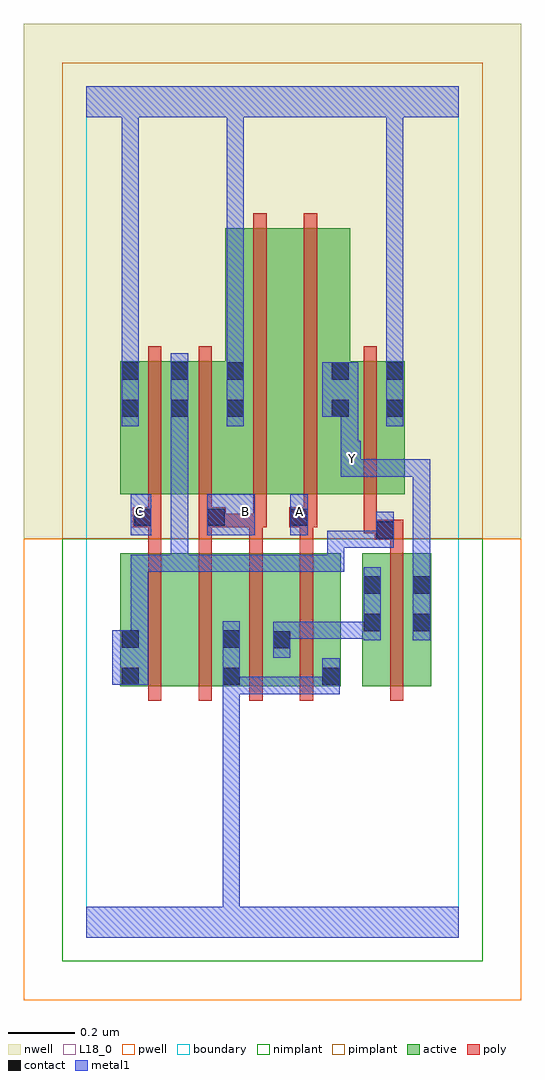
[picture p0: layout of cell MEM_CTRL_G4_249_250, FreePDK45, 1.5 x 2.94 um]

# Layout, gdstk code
import gdstk
lib = gdstk.Library(unit=1e-6, precision=1e-09)
def R(c, l, rs):  # rectangles x0, y0, x1, y1
    for r in rs: c.add(gdstk.rectangle(r[:2], r[2:], *l))
def A(c, l, x, y, w, h, nx, ny, dx, dy):  # array of equal rectangles
    R(c, l, [(x+i*dx, y+j*dy, x+i*dx+w, y+j*dy+h) for i in range(nx) for j in range(ny)])
active = (1, 0)
pwell = (2, 0)
nwell = (3, 0)
nimplant = (4, 0)
pimplant = (5, 0)
poly = (9, 0)
contact = (10, 0)
metal1 = (11, 0)
L18_0 = (18, 0)
boundary = (235, 0)

mem_ctrl_g4_249_250 = lib.new_cell('MEM_CTRL_G4_249_250')
R(mem_ctrl_g4_249_250, active, [(0.102,0.756,0.162,1.156), (0.102,0.756,0.282,1.156), (0.282,0.756,0.466,1.156), (0.406,0.756,0.618,1.156), (0.406,0.756,0.466,0.928), (0.558,0.756,0.766,1.156), (0.558,0.756,0.618,1.056), (0.706,0.756,0.766,1.156), (0.83,0.756,0.89,1.156), (0.83,0.756,1.038,1.156), (0.978,0.756,1.038,1.156), (0.102,1.334,0.162,1.734), (0.102,1.334,0.31,1.734), (0.25,1.334,0.478,1.734), (0.418,1.334,0.598,2.134), (0.598,1.334,0.794,2.134), (0.734,1.334,0.958,1.734), (0.898,1.334,0.958,1.734), (0.734,1.36,0.794,1.734), (0.25,1.388,0.31,1.734), (0.418,1.416,0.478,1.75)])
R(mem_ctrl_g4_249_250, pwell, [(-0.188,-0.188,1.308,1.2)])
R(mem_ctrl_g4_249_250, nwell, [(-0.188,1.2,1.308,2.748)])
R(mem_ctrl_g4_249_250, nimplant, [(-0.072,-0.072,1.192,1.2)])
R(mem_ctrl_g4_249_250, pimplant, [(-0.072,1.2,1.192,2.632)])
A(mem_ctrl_g4_249_250, poly, 0.186, 0.712, 0.04, 0.488, 4, 1, 0.152, 0)
A(mem_ctrl_g4_249_250, poly, 0.186, 1.16, 0.04, 0.114, 4, 1, 0.152, 0)
R(mem_ctrl_g4_249_250, poly, [(0.914,0.712,0.954,1.2), (0.914,1.16,0.954,1.236), (0.868,1.196,0.954,1.256), (0.834,1.216,0.874,1.33), (0.834,1.216,0.908,1.256), (0.868,1.216,0.908,1.256), (0.14,1.234,0.226,1.294), (0.186,1.234,0.226,1.274), (0.186,1.234,0.226,1.274), (0.338,1.234,0.378,1.274), (0.338,1.234,0.378,1.274), (0.338,1.234,0.53,1.274), (0.338,1.234,0.42,1.294), (0.49,1.234,0.53,1.274), (0.49,1.234,0.53,1.274), (0.49,1.234,0.542,1.274), (0.502,1.234,0.542,1.274), (0.502,1.234,0.542,1.274), (0.502,1.234,0.542,1.33), (0.61,1.234,0.694,1.294), (0.642,1.234,0.682,1.274), (0.642,1.234,0.682,1.274), (0.186,1.254,0.226,1.33), (0.338,1.254,0.378,1.33), (0.654,1.254,0.694,1.33), (0.186,1.29,0.226,1.778), (0.338,1.29,0.378,1.778), (0.502,1.29,0.542,2.178), (0.654,1.29,0.694,2.178), (0.834,1.29,0.874,1.778)])
R(mem_ctrl_g4_249_250, contact, [(0.106,0.76,0.158,0.812), (0.41,0.76,0.462,0.812), (0.71,0.76,0.762,0.812), (0.562,0.87,0.614,0.922), (0.106,0.872,0.158,0.924), (0.41,0.872,0.462,0.924), (0.834,0.922,0.886,0.974), (0.982,0.922,1.034,0.974), (0.834,1.034,0.886,1.086), (0.982,1.034,1.034,1.086), (0.872,1.2,0.924,1.252), (0.144,1.238,0.196,1.29), (0.364,1.238,0.416,1.29), (0.614,1.238,0.666,1.29), (0.106,1.566,0.158,1.618), (0.254,1.566,0.306,1.618), (0.422,1.566,0.474,1.618), (0.738,1.566,0.79,1.618), (0.902,1.566,0.954,1.618), (0.106,1.678,0.158,1.73), (0.254,1.678,0.306,1.73), (0.422,1.678,0.474,1.73), (0.738,1.678,0.79,1.73), (0.902,1.678,0.954,1.73)])
R(mem_ctrl_g4_249_250, metal1, [(0,0,1.12,0.092), (0.41,0.04,0.462,0.092), (0.41,0.04,0.462,0.092), (0.41,0.04,0.462,0.092), (0.41,0.04,0.462,0.092), (0.41,0.04,0.462,0.092), (0.41,0.04,0.462,0.092), (0.41,0.04,0.462,0.092), (0.41,0.04,0.462,0.092), (0.41,0.04,0.462,0.092), (0.41,0.04,0.462,0.092), (0.41,0.04,0.462,0.784), (0.41,0.732,0.462,0.784), (0.41,0.732,0.462,0.784), (0.41,0.732,0.462,0.784), (0.41,0.732,0.462,0.784), (0.41,0.732,0.462,0.952), (0.41,0.732,0.572,0.784), (0.52,0.732,0.572,0.784), (0.52,0.732,0.572,0.784), (0.52,0.732,0.572,0.784), (0.52,0.732,0.762,0.784), (0.71,0.732,0.762,0.84), (0.078,0.76,0.186,0.924), (0.562,0.842,0.614,0.95), (0.134,0.872,0.186,1.152), (0.834,0.894,0.886,1.114), (0.982,0.894,1.034,1.114), (0.562,0.898,0.614,0.95), (0.562,0.898,0.614,0.95), (0.562,0.898,0.776,0.95), (0.724,0.898,0.776,0.95), (0.724,0.898,0.886,0.95), (0.982,1.062,1.034,1.438), (0.134,1.1,0.186,1.152), (0.134,1.1,0.186,1.152), (0.134,1.1,0.186,1.152), (0.134,1.1,0.306,1.152), (0.254,1.1,0.306,1.152), (0.254,1.1,0.306,1.152), (0.254,1.1,0.306,1.152), (0.254,1.1,0.306,1.152), (0.254,1.1,0.306,1.152), (0.254,1.1,0.462,1.152), (0.254,1.1,0.306,1.59), (0.41,1.1,0.462,1.152), (0.41,1.1,0.462,1.152), (0.41,1.1,0.462,1.152), (0.41,1.1,0.586,1.152), (0.534,1.1,0.586,1.152), (0.534,1.1,0.586,1.152), (0.534,1.1,0.586,1.152), (0.534,1.1,0.776,1.152), (0.724,1.1,0.776,1.224), (0.724,1.172,0.776,1.224), (0.724,1.172,0.776,1.224), (0.724,1.172,0.924,1.224), (0.872,1.172,0.924,1.28), (0.134,1.21,0.196,1.334), (0.364,1.21,0.506,1.334), (0.614,1.21,0.666,1.334), (0.766,1.386,0.826,1.494), (0.774,1.386,1.034,1.438), (0.982,1.386,1.034,1.438), (0.982,1.386,1.034,1.438), (0.982,1.386,1.034,1.438), (0.982,1.386,1.034,1.438), (0.982,1.386,1.034,1.438), (0.766,1.442,0.818,1.618), (0.106,1.538,0.158,1.758), (0.254,1.538,0.306,1.758), (0.422,1.538,0.474,1.758), (0.902,1.538,0.954,1.758), (0.71,1.566,0.818,1.73), (0.106,1.706,0.158,2.52), (0.422,1.706,0.474,2.52), (0.902,1.706,0.954,1.758), (0.902,1.706,0.954,1.758), (0.902,1.706,0.954,1.758), (0.902,1.706,0.954,1.758), (0.902,1.706,0.954,2.52), (0,2.468,1.12,2.56), (0.106,2.468,0.158,2.52), (0.106,2.468,0.158,2.52), (0.106,2.468,0.158,2.52), (0.106,2.468,0.158,2.52), (0.106,2.468,0.158,2.52), (0.106,2.468,0.158,2.52), (0.106,2.468,0.158,2.52), (0.106,2.468,0.158,2.52), (0.106,2.468,0.158,2.52), (0.106,2.468,0.158,2.52), (0.106,2.468,0.158,2.52), (0.106,2.468,0.158,2.52), (0.106,2.468,0.158,2.52), (0.106,2.468,0.158,2.52), (0.106,2.468,0.158,2.52), (0.106,2.468,0.158,2.52), (0.422,2.468,0.474,2.52), (0.422,2.468,0.474,2.52), (0.422,2.468,0.474,2.52), (0.422,2.468,0.474,2.52), (0.422,2.468,0.474,2.52), (0.422,2.468,0.474,2.52), (0.422,2.468,0.474,2.52), (0.422,2.468,0.474,2.52), (0.902,2.468,0.954,2.52), (0.902,2.468,0.954,2.52), (0.902,2.468,0.954,2.52), (0.902,2.468,0.954,2.52), (0.902,2.468,0.954,2.52), (0.902,2.468,0.954,2.52), (0.902,2.468,0.954,2.52), (0.902,2.468,0.954,2.52), (0.902,2.468,0.954,2.52), (0.902,2.468,0.954,2.52), (0.902,2.468,0.954,2.52), (0.902,2.468,0.954,2.52)])
R(mem_ctrl_g4_249_250, L18_0, [(0,0,1.12,0.092), (0.41,0.04,0.462,0.092), (0.41,0.04,0.462,0.092), (0.41,0.04,0.462,0.092), (0.41,0.04,0.462,0.092), (0.41,0.04,0.462,0.092), (0.41,0.04,0.462,0.092), (0.41,0.04,0.462,0.092), (0.41,0.04,0.462,0.092), (0.41,0.04,0.462,0.092), (0.41,0.04,0.462,0.092), (0.41,0.04,0.462,0.784), (0.41,0.732,0.462,0.952), (0.41,0.732,0.462,0.784), (0.41,0.732,0.462,0.784), (0.41,0.732,0.462,0.784), (0.41,0.732,0.462,0.784), (0.41,0.732,0.572,0.784), (0.52,0.732,0.572,0.784), (0.52,0.732,0.572,0.784), (0.52,0.732,0.572,0.784), (0.52,0.732,0.762,0.784), (0.71,0.732,0.762,0.84), (0.982,0.894,1.034,1.114), (0.982,1.062,1.034,1.438), (0.134,1.21,0.196,1.334), (0.364,1.21,0.506,1.334), (0.614,1.21,0.666,1.334), (0.134,1.254,0.186,1.306), (0.454,1.254,0.506,1.306), (0.614,1.254,0.666,1.306), (0.766,1.386,0.826,1.494), (0.774,1.386,1.034,1.438), (0.982,1.386,1.034,1.438), (0.982,1.386,1.034,1.438), (0.982,1.386,1.034,1.438), (0.982,1.386,1.034,1.438), (0.982,1.386,1.034,1.438), (0.774,1.414,0.826,1.466), (0.766,1.442,0.818,1.618), (0.106,1.538,0.158,1.758), (0.422,1.538,0.474,1.758), (0.902,1.538,0.954,1.758), (0.71,1.566,0.818,1.73), (0.106,1.706,0.158,2.52), (0.422,1.706,0.474,2.52), (0.902,1.706,0.954,1.758), (0.902,1.706,0.954,1.758), (0.902,1.706,0.954,1.758), (0.902,1.706,0.954,1.758), (0.902,1.706,0.954,2.52), (0,2.468,1.12,2.56), (0.106,2.468,0.158,2.52), (0.106,2.468,0.158,2.52), (0.106,2.468,0.158,2.52), (0.106,2.468,0.158,2.52), (0.106,2.468,0.158,2.52), (0.106,2.468,0.158,2.52), (0.106,2.468,0.158,2.52), (0.106,2.468,0.158,2.52), (0.106,2.468,0.158,2.52), (0.106,2.468,0.158,2.52), (0.106,2.468,0.158,2.52), (0.106,2.468,0.158,2.52), (0.106,2.468,0.158,2.52), (0.106,2.468,0.158,2.52), (0.106,2.468,0.158,2.52), (0.106,2.468,0.158,2.52), (0.422,2.468,0.474,2.52), (0.422,2.468,0.474,2.52), (0.422,2.468,0.474,2.52), (0.422,2.468,0.474,2.52), (0.422,2.468,0.474,2.52), (0.422,2.468,0.474,2.52), (0.422,2.468,0.474,2.52), (0.422,2.468,0.474,2.52), (0.902,2.468,0.954,2.52), (0.902,2.468,0.954,2.52), (0.902,2.468,0.954,2.52), (0.902,2.468,0.954,2.52), (0.902,2.468,0.954,2.52), (0.902,2.468,0.954,2.52), (0.902,2.468,0.954,2.52), (0.902,2.468,0.954,2.52), (0.902,2.468,0.954,2.52), (0.902,2.468,0.954,2.52), (0.902,2.468,0.954,2.52), (0.902,2.468,0.954,2.52)])
R(mem_ctrl_g4_249_250, boundary, [(0,0,1.12,2.56)])
mem_ctrl_g4_249_250.add(gdstk.Label('A', (0.64,1.28), layer=11, texttype=0))
mem_ctrl_g4_249_250.add(gdstk.Label('B', (0.48,1.28), layer=11, texttype=0))
mem_ctrl_g4_249_250.add(gdstk.Label('C', (0.16,1.28), layer=11, texttype=0))
mem_ctrl_g4_249_250.add(gdstk.Label('Y', (0.8,1.44), layer=11, texttype=0))

lib.write_gds('MEM_CTRL_G4_249_250.gds')
